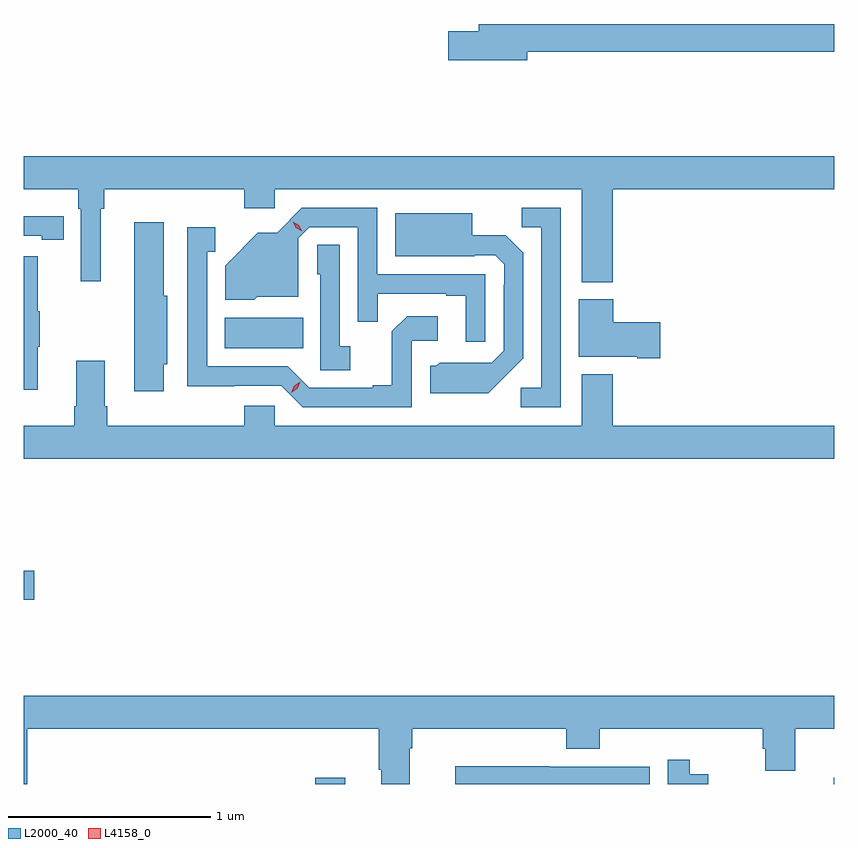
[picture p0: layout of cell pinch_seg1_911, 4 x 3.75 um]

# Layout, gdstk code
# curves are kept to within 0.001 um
import gdstk
lib = gdstk.Library(unit=1e-6, precision=1e-09)
def R(c, l, rs):  # rectangles x0, y0, x1, y1
    for r in rs: c.add(gdstk.rectangle(r[:2], r[2:], *l))
def P(c, l, *ps):  # polygons
    for p in ps: c.add(gdstk.Polygon(p, *l))
L2000_40 = (2000, 40)
L4158_0 = (4158, 0)

pinch_seg1_911 = lib.new_cell('pinch_seg1_911')
R(pinch_seg1_911, L2000_40, [(231.501,543.467,231.649,543.499), (234.061,543.467,234.062,543.499), (230.062,544.378,230.113,544.52), (231.053,545.618,231.44,545.77)])
P(pinch_seg1_911, L2000_40, [(232.546,547.084),(234.062,547.084),(234.062,547.22),(232.307,547.22),(232.307,547.184),(232.158,547.184),(232.158,547.042),(232.546,547.042)],
  [(230.062,546.404),(230.33,546.404),(230.33,546.308),(230.343,546.308),(230.343,545.949),(230.44,545.949),(230.44,546.308),(230.459,546.308),(230.459,546.404),(231.149,546.404),(231.149,546.311),(231.3,546.311),(231.3,546.404),(232.817,546.404),(232.817,545.945),(232.97,545.945),(232.97,546.404),(234.062,546.404),(234.062,546.568),(230.062,546.568)],
  [(232.341,545.985),(231.807,545.985),(231.807,546.312),(231.434,546.312),(231.312,546.19),(231.216,546.19),(231.142,546.116),(231.144,546.115),(231.056,546.027),(231.056,545.858),(231.2,545.858),(231.215,545.873),(231.417,545.873),(231.417,546.162),(231.471,546.216),(231.711,546.216),(231.711,545.75),(231.809,545.75),(231.809,545.889),(232.148,545.889),(232.148,545.877),(232.244,545.877),(232.244,545.652),(232.341,545.652)],
  [(232.713,546.312),(232.521,546.312),(232.521,546.217),(232.617,546.217),(232.617,545.424),(232.515,545.424),(232.515,545.328),(232.713,545.328)],
  [(232.435,545.477),(232.527,545.57),(232.527,546.09),(232.441,546.176),(232.276,546.176),(232.276,546.286),(231.896,546.286),(231.896,546.074),(232.289,546.074),(232.289,546.078),(232.389,546.078),(232.434,546.033),(232.434,545.933),(232.431,545.933),(232.431,545.607),(232.371,545.547),(232.114,545.548),(232.098,545.532),(232.067,545.532),(232.067,545.396),(232.355,545.396)],
  [(230.258,546.27),(230.15,546.27),(230.15,546.271),(230.062,546.271),(230.062,546.174),(230.15,546.174),(230.15,546.154),(230.258,546.154)],
  [(230.752,545.541),(230.77,545.541),(230.77,545.877),(230.752,545.877),(230.752,546.241),(230.606,546.241),(230.606,545.406),(230.752,545.406)],
  [(231.978,545.655),(232.105,545.655),(232.105,545.776),(231.954,545.776),(231.879,545.702),(231.879,545.437),(231.785,545.437),(231.785,545.424),(231.47,545.424),(231.365,545.529),(230.968,545.529),(230.968,546.096),(231.006,546.096),(231.006,546.217),(230.867,546.217),(230.867,545.432),(231.333,545.433),(231.438,545.328),(231.978,545.328)],
  [(231.673,545.628),(231.621,545.628),(231.621,546.13),(231.51,546.13),(231.51,545.985),(231.525,545.985),(231.525,545.509),(231.673,545.509)],
  [(230.129,545.627),(230.14,545.627),(230.14,545.801),(230.129,545.801),(230.129,546.073),(230.062,546.073),(230.062,545.415),(230.129,545.415)],
  [(233.203,545.747),(232.972,545.747),(232.972,545.86),(232.802,545.86),(232.802,545.576),(233.09,545.576),(233.09,545.569),(233.203,545.569)],
  [(234.062,545.236),(232.97,545.236),(232.97,545.491),(232.817,545.491),(232.817,545.236),(231.3,545.236),(231.3,545.334),(231.149,545.334),(231.149,545.236),(230.474,545.236),(230.474,545.332),(230.461,545.332),(230.461,545.557),(230.321,545.557),(230.321,545.332),(230.309,545.332),(230.309,545.236),(230.062,545.236),(230.062,545.072),(234.062,545.072)],
  [(230.078,543.74),(231.815,543.74),(231.815,543.538),(231.827,543.538),(231.827,543.467),(231.967,543.467),(231.967,543.644),(231.98,543.644),(231.98,543.74),(232.739,543.74),(232.739,543.641),(232.904,543.641),(232.904,543.74),(233.711,543.74),(233.711,543.642),(233.723,543.642),(233.723,543.532),(233.871,543.532),(233.871,543.74),(234.062,543.74),(234.062,543.904),(230.062,543.904),(230.062,543.467),(230.078,543.467)],
  [(233.442,543.516),(233.35,543.516),(233.35,543.586),(233.241,543.586),(233.241,543.467),(233.442,543.467)],
  [(233.151,543.552),(232.655,543.552),(232.655,543.554),(232.192,543.554),(232.192,543.467),(233.151,543.467)])
P(pinch_seg1_911, L4158_0, [(231.435,546.196),(231.405,546.213),(231.388,546.243),(231.388,546.243),(231.389,546.243),(231.419,546.227),(231.435,546.197),(231.435,546.196)],
  [(231.381,545.4),(231.381,545.4),(231.396,545.433),(231.425,545.453),(231.426,545.453),(231.426,545.453),(231.411,545.42),(231.381,545.4)])

lib.write_gds('pinch_seg1_911.gds')
